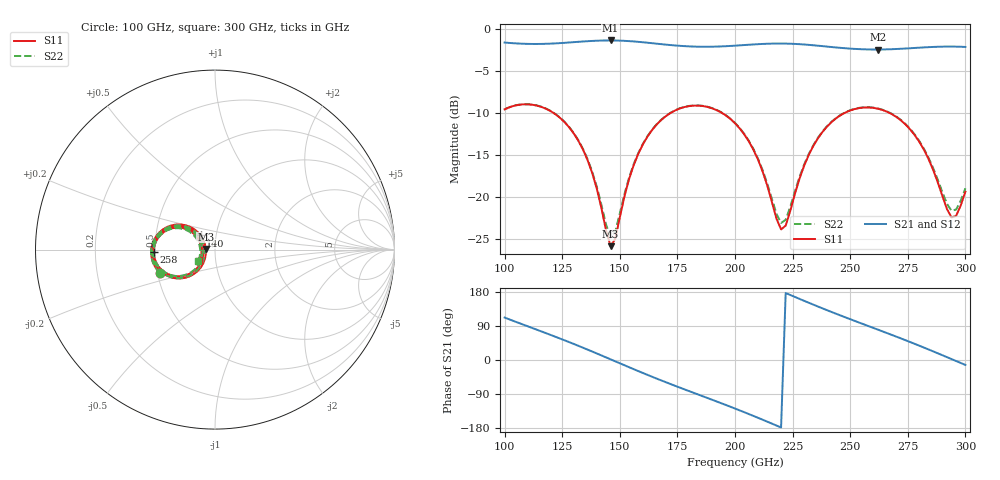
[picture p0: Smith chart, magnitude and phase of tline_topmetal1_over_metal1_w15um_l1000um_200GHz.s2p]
#  GHZ S DB R 50
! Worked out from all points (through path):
!   101 points, 100 GHz to 300 GHz, reference 50 ohm
!   highest |S21| = -1.37 dB at 146 GHz (marker M1); lowest = -2.4 dB at 262 GHz (marker M2)
!   group delay of S21, straight-line fit = 6.75 ps
!   lowest |S11| = -25.8 dB at 146 GHz (marker M3), VSWR 1.11, Z = 45.1 + j0.293 ohm
!   |S11| at or under -10 dB: 121.3 GHz to 172 GHz (50.69 GHz wide, 34.6 % of centre); 194.4 GHz to 247.5 GHz (53.11 GHz wide, 24 % of centre); 267.1 GHz to end of sweep
!   |S22| runs from -24.8 to -8.9 dB; largest |S21 - S12| = 9.8e-14
!   S11 on the Smith chart (normalised r, x): 100 GHz: 0.52, -0.15; 140 GHz: 0.84, +0.13; 258 GHz: 0.49, -0.01; 300 GHz: 0.83, -0.11
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100  -9.56 -157.1  -1.62 112.0  -1.62 112.0  -9.55 -156.8
108  -8.97 -173.3  -1.76 93.6  -1.76 93.6  -8.95 -172.8
118  -9.49 166.7  -1.77 70.7  -1.77 70.7  -9.47 167.6
134  -14.33 138.0  -1.49 32.5  -1.49 32.5  -14.25 139.9
140  -18.98 135.3  -1.40 17.3  -1.40 17.3  -18.74 138.4
146  -25.83 176.4  -1.37 1.8  -1.37 1.8  -24.80 177.4
148  -24.97 -154.6  -1.38 -3.4  -1.38 -3.4  -24.12 -157.0
156  -16.21 -129.0  -1.49 -24.1  -1.49 -24.1  -16.10 -130.8
168  -10.82 -147.3  -1.81 -53.9  -1.81 -53.9  -10.79 -147.8
184  -9.12 -178.0  -2.11 -91.0  -2.11 -91.0  -9.09 -177.8
200  -11.21 152.5  -1.99 -128.1  -1.99 -128.1  -11.17 153.4
210  -15.55 139.5  -1.81 -152.6  -1.81 -152.6  -15.43 141.3
220  -23.84 176.7  -1.74 -178.1  -1.74 -178.1  -23.07 177.5
222  -23.39 -161.3  -1.74 176.7  -1.74 176.7  -22.68 -162.7
234  -13.91 -137.0  -1.94 146.1  -1.94 146.1  -13.82 -138.1
246  -10.23 -156.1  -2.25 117.0  -2.25 117.0  -10.19 -156.4
258  -9.34 -177.9  -2.44 89.3  -2.44 89.3  -9.30 -177.8
262  -9.48 174.8  -2.45 80.2  -2.45 80.2  -9.45 175.2
268  -10.12 164.2  -2.41 66.3  -2.41 66.3  -10.08 164.8
282  -14.36 144.2  -2.19 32.8  -2.19 32.8  -14.24 145.8
294  -22.41 176.4  -2.10 2.4  -2.10 2.4  -21.63 177.0
300  -19.36 -143.7  -2.14 -13.0  -2.14 -13.0  -18.95 -146.3
